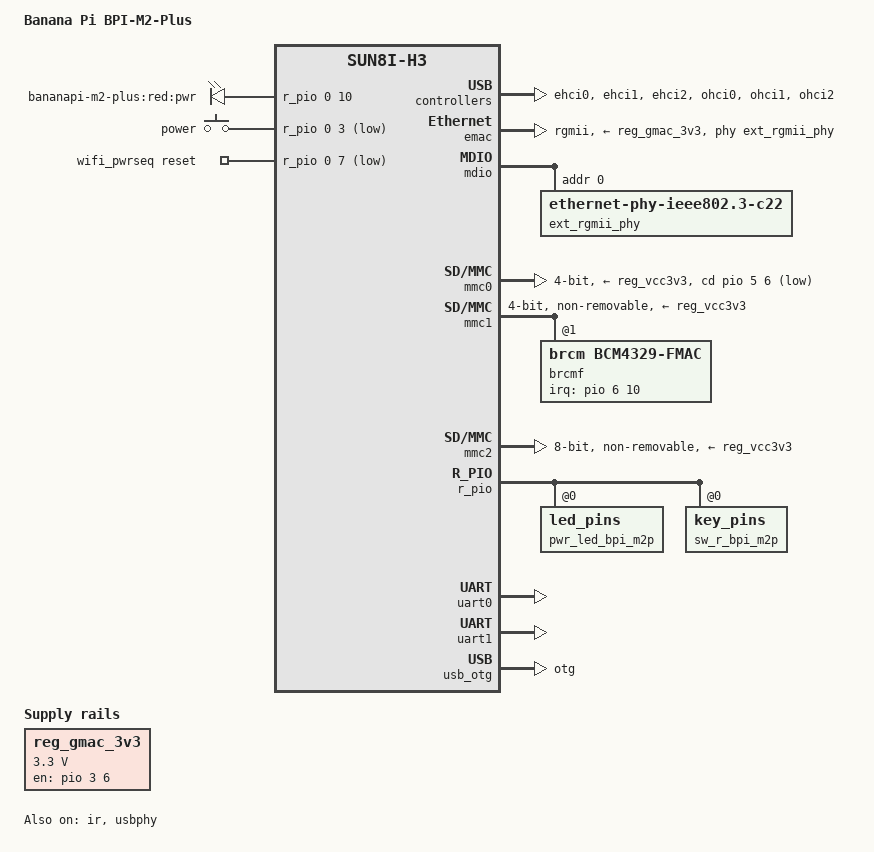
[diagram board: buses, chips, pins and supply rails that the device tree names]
/*
 * Copyright (C) 2016 Chen-Yu Tsai <wens@csie.org>
 *
 * This file is dual-licensed: you can use it either under the terms
 * of the GPL or the X11 license, at your option. Note that this dual
 * licensing only applies to this file, and not this project as a
 * whole.
 *
 *  a) This file is free software; you can redistribute it and/or
 *     modify it under the terms of the GNU General Public License as
 *     published by the Free Software Foundation; either version 2 of the
 *     License, or (at your option) any later version.
 *
 *     This file is distributed in the hope that it will be useful,
 *     but WITHOUT ANY WARRANTY; without even the implied warranty of
 *     MERCHANTABILITY or FITNESS FOR A PARTICULAR PURPOSE.  See the
 *     GNU General Public License for more details.
 *
 * Or, alternatively,
 *
 *  b) Permission is hereby granted, free of charge, to any person
 *     obtaining a copy of this software and associated documentation
 *     files (the "Software"), to deal in the Software without
 *     restriction, including without limitation the rights to use,
 *     copy, modify, merge, publish, distribute, sublicense, and/or
 *     sell copies of the Software, and to permit persons to whom the
 *     Software is furnished to do so, subject to the following
 *     conditions:
 *
 *     The above copyright notice and this permission notice shall be
 *     included in all copies or substantial portions of the Software.
 *
 *     THE SOFTWARE IS PROVIDED "AS IS", WITHOUT WARRANTY OF ANY KIND,
 *     EXPRESS OR IMPLIED, INCLUDING BUT NOT LIMITED TO THE WARRANTIES
 *     OF MERCHANTABILITY, FITNESS FOR A PARTICULAR PURPOSE AND
 *     NONINFRINGEMENT. IN NO EVENT SHALL THE AUTHORS OR COPYRIGHT
 *     HOLDERS BE LIABLE FOR ANY CLAIM, DAMAGES OR OTHER LIABILITY,
 *     WHETHER IN AN ACTION OF CONTRACT, TORT OR OTHERWISE, ARISING
 *     FROM, OUT OF OR IN CONNECTION WITH THE SOFTWARE OR THE USE OR
 *     OTHER DEALINGS IN THE SOFTWARE.
 */

/dts-v1/;
#include "sun8i-h3.dtsi"
#include "sunxi-common-regulators.dtsi"

#include <dt-bindings/gpio/gpio.h>
#include <dt-bindings/input/input.h>

/ {
	model = "Banana Pi BPI-M2-Plus";
	compatible = "sinovoip,bpi-m2-plus", "allwinner,sun8i-h3";

	aliases {
		ethernet0 = &emac;
		serial0 = &uart0;
		serial1 = &uart1;
	};

	chosen {
		stdout-path = "serial0:115200n8";
	};

	leds {
		compatible = "gpio-leds";
		pinctrl-names = "default";
		pinctrl-0 = <&pwr_led_bpi_m2p>;

		pwr_led {
			label = "bananapi-m2-plus:red:pwr";
			gpios = <&r_pio 0 10 GPIO_ACTIVE_HIGH>; /* PL10 */
			default-state = "on";
		};
	};

	gpio_keys {
		compatible = "gpio-keys";
		pinctrl-names = "default";
		pinctrl-0 = <&sw_r_bpi_m2p>;

		sw4 {
			label = "power";
			linux,code = <BTN_0>;
			gpios = <&r_pio 0 3 GPIO_ACTIVE_LOW>;
		};
	};

	reg_gmac_3v3: gmac-3v3 {
		      compatible = "regulator-fixed";
		      regulator-name = "gmac-3v3";
		      regulator-min-microvolt = <3300000>;
		      regulator-max-microvolt = <3300000>;
		      startup-delay-us = <100000>;
		      enable-active-high;
		      gpio = <&pio 3 6 GPIO_ACTIVE_HIGH>;
	};

	wifi_pwrseq: wifi_pwrseq {
		compatible = "mmc-pwrseq-simple";
		pinctrl-names = "default";
		pinctrl-0 = <&wifi_en_bpi_m2p>;
		reset-gpios = <&r_pio 0 7 GPIO_ACTIVE_LOW>; /* PL7 */
	};
};

&ehci0 {
	status = "okay";
};

&ehci1 {
	status = "okay";
};

&ehci2 {
	status = "okay";
};

&emac {
	pinctrl-names = "default";
	pinctrl-0 = <&emac_rgmii_pins>;
	phy-supply = <&reg_gmac_3v3>;
	phy-handle = <&ext_rgmii_phy>;
	phy-mode = "rgmii";

	allwinner,leds-active-low;
	status = "okay";
};

&ir {
	pinctrl-names = "default";
	pinctrl-0 = <&ir_pins_a>;
	status = "okay";
};

&mdio {
	ext_rgmii_phy: ethernet-phy@1 {
		compatible = "ethernet-phy-ieee802.3-c22";
		reg = <0>;
	};
};

&mmc0 {
	pinctrl-names = "default";
	pinctrl-0 = <&mmc0_pins_a>, <&mmc0_cd_pin>;
	vmmc-supply = <&reg_vcc3v3>;
	bus-width = <4>;
	cd-gpios = <&pio 5 6 GPIO_ACTIVE_HIGH>; /* PF6 */
	cd-inverted;
	status = "okay";
};

&mmc1 {
	pinctrl-names = "default";
	pinctrl-0 = <&mmc1_pins_a>;
	vmmc-supply = <&reg_vcc3v3>;
	vqmmc-supply = <&reg_vcc3v3>;
	mmc-pwrseq = <&wifi_pwrseq>;
	bus-width = <4>;
	non-removable;
	status = "okay";

	brcmf: wifi@1 {
		reg = <1>;
		compatible = "brcm,bcm4329-fmac";
		interrupt-parent = <&pio>;
		interrupts = <6 10 IRQ_TYPE_LEVEL_LOW>; /* PG10 / EINT10 */
		interrupt-names = "host-wake";
	};
};

&mmc2 {
	pinctrl-names = "default";
	pinctrl-0 = <&mmc2_8bit_pins>;
	vmmc-supply = <&reg_vcc3v3>;
	vqmmc-supply = <&reg_vcc3v3>;
	bus-width = <8>;
	non-removable;
	status = "okay";
};

&ohci0 {
	status = "okay";
};

&ohci1 {
	status = "okay";
};

&ohci2 {
	status = "okay";
};

&r_pio {
	pwr_led_bpi_m2p: led_pins@0 {
		pins = "PL10";
		function = "gpio_out";
	};

	sw_r_bpi_m2p: key_pins@0 {
		pins = "PL3";
		function = "gpio_in";
	};

	wifi_en_bpi_m2p: wifi_en_pin {
		pins = "PL7";
		function = "gpio_out";
	};
};

&reg_usb0_vbus {
	gpio = <&pio 3 11 GPIO_ACTIVE_HIGH>; /* PD11 */
	status = "okay";
};

&uart0 {
	pinctrl-names = "default";
	pinctrl-0 = <&uart0_pins_a>;
	status = "okay";
};

&uart1 {
	pinctrl-names = "default";
	pinctrl-0 = <&uart1_pins>, <&uart1_rts_cts_pins>;
	status = "okay";
};

&usb_otg {
	dr_mode = "otg";
	status = "okay";
};

&usbphy {
	usb0_id_det-gpios = <&r_pio 0 6 GPIO_ACTIVE_HIGH>; /* PL6 */
	usb0_vbus-supply = <&reg_usb0_vbus>;
	/* USB host VBUS is on as long as VCC-IO is on */
	status = "okay";
};
